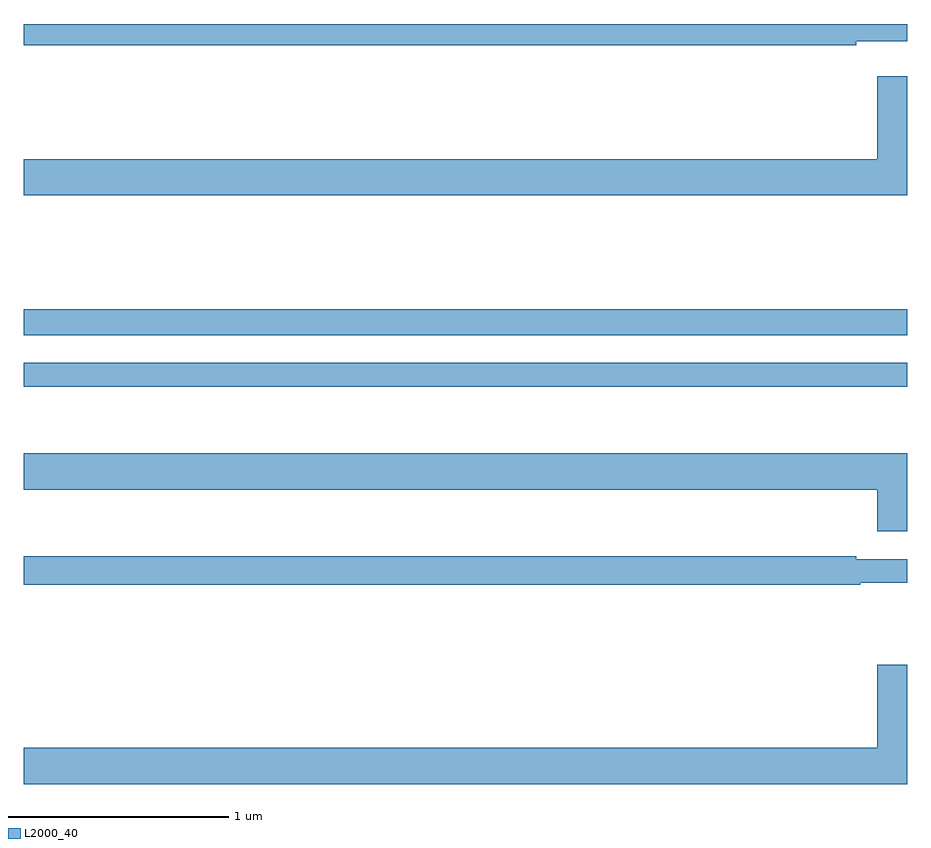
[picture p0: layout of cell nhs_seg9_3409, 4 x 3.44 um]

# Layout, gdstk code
import gdstk
lib = gdstk.Library(unit=1e-6, precision=1e-09)
def R(c, l, rs):  # rectangles x0, y0, x1, y1
    for r in rs: c.add(gdstk.rectangle(r[:2], r[2:], *l))
def P(c, l, *ps):  # polygons
    for p in ps: c.add(gdstk.Polygon(p, *l))
L2000_40 = (2000, 40)

nhs_seg9_3409 = lib.new_cell('nhs_seg9_3409')
R(nhs_seg9_3409, L2000_40, [(305,1224.858,309,1224.966), (305,1225.092,309,1225.208)])
P(nhs_seg9_3409, L2000_40, [(308.768,1226.423),(309,1226.423),(309,1226.5),(305,1226.5),(305,1226.404),(308.768,1226.404)],
  [(309,1226.263),(308.864,1226.263),(308.864,1225.888),(305,1225.888),(305,1225.724),(309,1225.724)],
  [(309,1224.556),(305,1224.556),(305,1224.392),(308.864,1224.392),(308.864,1224.204),(309,1224.204)],
  [(308.786,1223.97),(309,1223.97),(309,1224.078),(308.768,1224.078),(308.768,1224.091),(305,1224.091),(305,1223.962),(308.786,1223.962)],
  [(309,1223.599),(308.864,1223.599),(308.864,1223.224),(305,1223.224),(305,1223.06),(309,1223.06)])

lib.write_gds('nhs_seg9_3409.gds')
